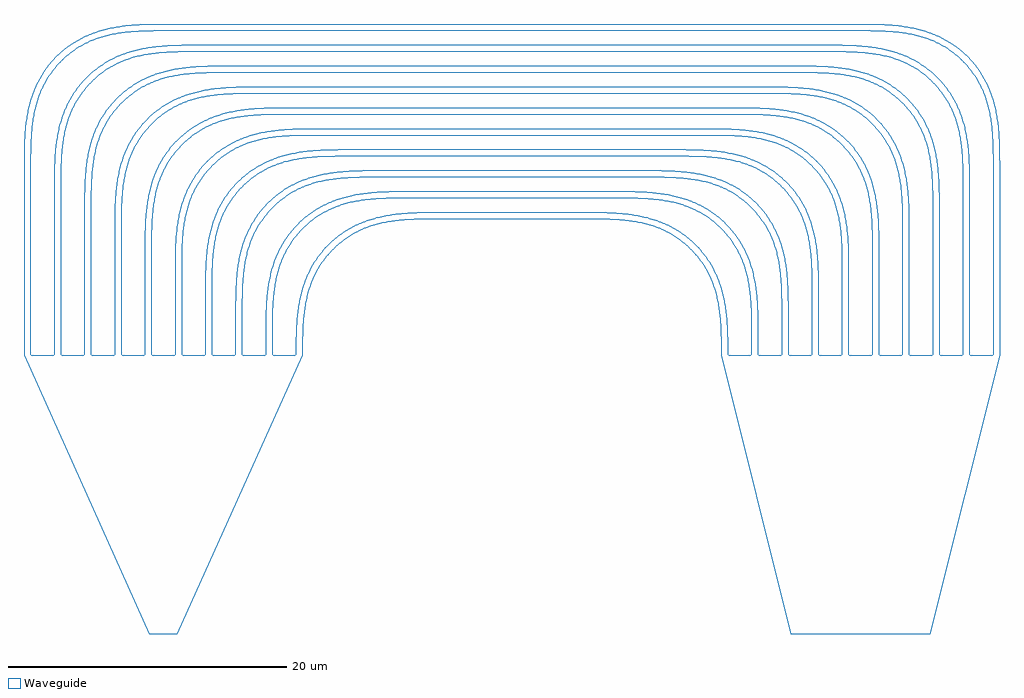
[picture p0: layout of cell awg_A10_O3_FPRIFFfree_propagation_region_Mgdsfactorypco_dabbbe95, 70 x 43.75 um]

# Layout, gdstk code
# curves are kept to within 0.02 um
from math import pi, radians
import gdstk
lib = gdstk.Library(unit=1e-6, precision=1e-09)
def R(c, l, rs):  # rectangles x0, y0, x1, y1
    for r in rs: c.add(gdstk.rectangle(r[:2], r[2:], *l))
def P(c, l, *ps):  # polygons
    for p in ps: c.add(gdstk.Polygon(p, *l))
Waveguide = (1, 0)

free_propagation_region_ = lib.new_cell('free_propagation_region_gdsfactorypcomponentspfilterspa_5ff2a5ce')
P(free_propagation_region_, Waveguide, [(20,-10),(0,-1),(0,1),(20,10)])

c_free_propagation_region_ = lib.new_cell('free_propagation_region_gdsfactorypcomponentspfilterspa_e953b677')
P(c_free_propagation_region_, Waveguide, [(20,-10),(0,-5),(0,5),(20,10)])

bend_euler_r10_a90_p0p5_ = lib.new_cell('bend_euler_R10_A90_P0p5_WAFTrue_NNone_ASNone_LNone_W0p5_40658998')
P(bend_euler_r10_a90_p0p5_, Waveguide, [(0,-0.25),(0,0.25),(1.655,0.269),(2.881,0.353),(3.952,0.52),(4.99,0.806),(5.731,1.113),(6.431,1.505),(7.079,1.976),(7.575,2.425),(8.024,2.921),(8.495,3.569),(8.887,4.269),(9.194,5.01),(9.48,6.048),(9.647,7.119),(9.731,8.345),(9.75,10),(10.25,10),(10.235,8.468),(10.158,7.205),(10.023,6.224),(9.797,5.254),(9.457,4.312),(9.066,3.545),(8.5,2.715),(7.928,2.072),(7.285,1.5),(6.455,0.934),(5.688,0.543),(4.746,0.203),(3.776,-0.023),(2.795,-0.158),(1.532,-0.235)])

straight_l13p5_n2_csstri = lib.new_cell('straight_L13p5_N2_CSstrip_W0p5')
R(straight_l13p5_n2_csstri, Waveguide, [(0,-0.25,13.5,0.25)])

straight_l49p5_n2_csstri = lib.new_cell('straight_L49p5_N2_CSstrip_W0p5')
R(straight_l49p5_n2_csstri, Waveguide, [(0,-0.25,49.5,0.25)])

straight_l12_n2_csstrip_ = lib.new_cell('straight_L12_N2_CSstrip_W0p5')
R(straight_l12_n2_csstrip_, Waveguide, [(0,-0.25,12,0.25)])

straight_l45p16600000000 = lib.new_cell('straight_L45p166000000000004_N2_CSstrip_W0p5')
R(straight_l45p16600000000, Waveguide, [(0,-0.25,45.166,0.25)])

straight_l10p5_n2_csstri = lib.new_cell('straight_L10p5_N2_CSstrip_W0p5')
R(straight_l10p5_n2_csstri, Waveguide, [(0,-0.25,10.5,0.25)])

straight_l40p834_n2_csst = lib.new_cell('straight_L40p834_N2_CSstrip_W0p5')
R(straight_l40p834_n2_csst, Waveguide, [(0,-0.25,40.834,0.25)])

straight_l9_n2_csstrip_w = lib.new_cell('straight_L9_N2_CSstrip_W0p5')
R(straight_l9_n2_csstrip_w, Waveguide, [(0,-0.25,9,0.25)])

straight_l36p5_n2_csstri = lib.new_cell('straight_L36p5_N2_CSstrip_W0p5')
R(straight_l36p5_n2_csstri, Waveguide, [(0,-0.25,36.5,0.25)])

straight_l7p5_n2_csstrip = lib.new_cell('straight_L7p5_N2_CSstrip_W0p5')
R(straight_l7p5_n2_csstrip, Waveguide, [(0,-0.25,7.5,0.25)])

straight_l32p16600000000 = lib.new_cell('straight_L32p166000000000004_N2_CSstrip_W0p5')
R(straight_l32p16600000000, Waveguide, [(0,-0.25,32.166,0.25)])

straight_l6_n2_csstrip_w = lib.new_cell('straight_L6_N2_CSstrip_W0p5')
R(straight_l6_n2_csstrip_w, Waveguide, [(0,-0.25,6,0.25)])

straight_l27p834_n2_csst = lib.new_cell('straight_L27p834_N2_CSstrip_W0p5')
R(straight_l27p834_n2_csst, Waveguide, [(0,-0.25,27.834,0.25)])

straight_l4p5_n2_csstrip = lib.new_cell('straight_L4p5_N2_CSstrip_W0p5')
R(straight_l4p5_n2_csstrip, Waveguide, [(0,-0.25,4.5,0.25)])

straight_l23p5_n2_csstri = lib.new_cell('straight_L23p5_N2_CSstrip_W0p5')
R(straight_l23p5_n2_csstri, Waveguide, [(0,-0.25,23.5,0.25)])

straight_l3_n2_csstrip_w = lib.new_cell('straight_L3_N2_CSstrip_W0p5')
R(straight_l3_n2_csstrip_w, Waveguide, [(0,-0.25,3,0.25)])

straight_l19p166_n2_csst = lib.new_cell('straight_L19p166_N2_CSstrip_W0p5')
R(straight_l19p166_n2_csst, Waveguide, [(0,-0.25,19.166,0.25)])

straight_l1p5_n2_csstrip = lib.new_cell('straight_L1p5_N2_CSstrip_W0p5')
R(straight_l1p5_n2_csstrip, Waveguide, [(0,-0.25,1.5,0.25)])

straight_l14p834_n2_csst = lib.new_cell('straight_L14p834_N2_CSstrip_W0p5')
R(straight_l14p834_n2_csst, Waveguide, [(0,-0.25,14.834,0.25)])

awg_a10_o3_fprifffree_pr = lib.new_cell('awg_A10_O3_FPRIFFfree_propagation_region_Mgdsfactorypco_dabbbe95')
awg_a10_o3_fprifffree_pr.add(gdstk.Reference(free_propagation_region_, (0,0), rotation=pi/2))
awg_a10_o3_fprifffree_pr.add(gdstk.Reference(c_free_propagation_region_, (50,0), rotation=pi/2))
awg_a10_o3_fprifffree_pr.add(gdstk.Reference(bend_euler_r10_a90_p0p5_, (49.75,43.5), x_reflection=True))
awg_a10_o3_fprifffree_pr.add(gdstk.Reference(straight_l13p5_n2_csstri, (59.75,20), rotation=pi/2))
awg_a10_o3_fprifffree_pr.add(gdstk.Reference(bend_euler_r10_a90_p0p5_, (-9.75,33.5), rotation=pi/2, x_reflection=True))
awg_a10_o3_fprifffree_pr.add(gdstk.Reference(straight_l49p5_n2_csstri, (49.75,43.5), rotation=pi))
awg_a10_o3_fprifffree_pr.add(gdstk.Reference(straight_l13p5_n2_csstri, (-9.75,33.5), rotation=3*pi/2))
awg_a10_o3_fprifffree_pr.add(gdstk.Reference(bend_euler_r10_a90_p0p5_, (47.583,42), x_reflection=True))
awg_a10_o3_fprifffree_pr.add(gdstk.Reference(straight_l12_n2_csstrip_, (57.583,20), rotation=pi/2))
awg_a10_o3_fprifffree_pr.add(gdstk.Reference(bend_euler_r10_a90_p0p5_, (-7.583,32), rotation=pi/2, x_reflection=True))
awg_a10_o3_fprifffree_pr.add(gdstk.Reference(straight_l45p16600000000, (47.583,42), rotation=pi))
awg_a10_o3_fprifffree_pr.add(gdstk.Reference(straight_l12_n2_csstrip_, (-7.583,32), rotation=3*pi/2))
awg_a10_o3_fprifffree_pr.add(gdstk.Reference(bend_euler_r10_a90_p0p5_, (45.417,40.5), x_reflection=True))
awg_a10_o3_fprifffree_pr.add(gdstk.Reference(straight_l10p5_n2_csstri, (55.417,20), rotation=pi/2))
awg_a10_o3_fprifffree_pr.add(gdstk.Reference(bend_euler_r10_a90_p0p5_, (-5.417,30.5), rotation=pi/2, x_reflection=True))
awg_a10_o3_fprifffree_pr.add(gdstk.Reference(straight_l40p834_n2_csst, (45.417,40.5), rotation=pi))
awg_a10_o3_fprifffree_pr.add(gdstk.Reference(straight_l10p5_n2_csstri, (-5.417,30.5), rotation=3*pi/2))
awg_a10_o3_fprifffree_pr.add(gdstk.Reference(bend_euler_r10_a90_p0p5_, (43.25,39), x_reflection=True))
awg_a10_o3_fprifffree_pr.add(gdstk.Reference(straight_l9_n2_csstrip_w, (53.25,20), rotation=pi/2))
awg_a10_o3_fprifffree_pr.add(gdstk.Reference(bend_euler_r10_a90_p0p5_, (-3.25,29), rotation=pi/2, x_reflection=True))
awg_a10_o3_fprifffree_pr.add(gdstk.Reference(straight_l36p5_n2_csstri, (43.25,39), rotation=pi))
awg_a10_o3_fprifffree_pr.add(gdstk.Reference(straight_l9_n2_csstrip_w, (-3.25,29), rotation=3*pi/2))
awg_a10_o3_fprifffree_pr.add(gdstk.Reference(bend_euler_r10_a90_p0p5_, (41.083,37.5), x_reflection=True))
awg_a10_o3_fprifffree_pr.add(gdstk.Reference(straight_l7p5_n2_csstrip, (51.083,20), rotation=pi/2))
awg_a10_o3_fprifffree_pr.add(gdstk.Reference(bend_euler_r10_a90_p0p5_, (-1.083,27.5), rotation=pi/2, x_reflection=True))
awg_a10_o3_fprifffree_pr.add(gdstk.Reference(straight_l32p16600000000, (41.083,37.5), rotation=pi))
awg_a10_o3_fprifffree_pr.add(gdstk.Reference(straight_l7p5_n2_csstrip, (-1.083,27.5), rotation=3*pi/2))
awg_a10_o3_fprifffree_pr.add(gdstk.Reference(bend_euler_r10_a90_p0p5_, (38.917,36), x_reflection=True))
awg_a10_o3_fprifffree_pr.add(gdstk.Reference(straight_l6_n2_csstrip_w, (48.917,20), rotation=pi/2))
awg_a10_o3_fprifffree_pr.add(gdstk.Reference(bend_euler_r10_a90_p0p5_, (1.083,26), rotation=pi/2, x_reflection=True))
awg_a10_o3_fprifffree_pr.add(gdstk.Reference(straight_l27p834_n2_csst, (38.917,36), rotation=pi))
awg_a10_o3_fprifffree_pr.add(gdstk.Reference(straight_l6_n2_csstrip_w, (1.083,26), rotation=3*pi/2))
awg_a10_o3_fprifffree_pr.add(gdstk.Reference(bend_euler_r10_a90_p0p5_, (36.75,34.5), x_reflection=True))
awg_a10_o3_fprifffree_pr.add(gdstk.Reference(straight_l4p5_n2_csstrip, (46.75,20), rotation=pi/2))
awg_a10_o3_fprifffree_pr.add(gdstk.Reference(bend_euler_r10_a90_p0p5_, (3.25,24.5), rotation=pi/2, x_reflection=True))
awg_a10_o3_fprifffree_pr.add(gdstk.Reference(straight_l23p5_n2_csstri, (36.75,34.5), rotation=pi))
awg_a10_o3_fprifffree_pr.add(gdstk.Reference(straight_l4p5_n2_csstrip, (3.25,24.5), rotation=3*pi/2))
awg_a10_o3_fprifffree_pr.add(gdstk.Reference(bend_euler_r10_a90_p0p5_, (34.583,33), x_reflection=True))
awg_a10_o3_fprifffree_pr.add(gdstk.Reference(straight_l3_n2_csstrip_w, (44.583,20), rotation=pi/2))
awg_a10_o3_fprifffree_pr.add(gdstk.Reference(bend_euler_r10_a90_p0p5_, (5.417,23), rotation=pi/2, x_reflection=True))
awg_a10_o3_fprifffree_pr.add(gdstk.Reference(straight_l19p166_n2_csst, (34.583,33), rotation=pi))
awg_a10_o3_fprifffree_pr.add(gdstk.Reference(straight_l3_n2_csstrip_w, (5.417,23), rotation=3*pi/2))
awg_a10_o3_fprifffree_pr.add(gdstk.Reference(bend_euler_r10_a90_p0p5_, (32.417,31.5), x_reflection=True))
awg_a10_o3_fprifffree_pr.add(gdstk.Reference(straight_l1p5_n2_csstrip, (42.417,20), rotation=pi/2))
awg_a10_o3_fprifffree_pr.add(gdstk.Reference(bend_euler_r10_a90_p0p5_, (7.583,21.5), rotation=pi/2, x_reflection=True))
awg_a10_o3_fprifffree_pr.add(gdstk.Reference(straight_l14p834_n2_csst, (32.417,31.5), rotation=pi))
awg_a10_o3_fprifffree_pr.add(gdstk.Reference(straight_l1p5_n2_csstrip, (7.583,21.5), rotation=3*pi/2))
awg_a10_o3_fprifffree_pr.add(gdstk.Reference(bend_euler_r10_a90_p0p5_, (30.25,30), x_reflection=True))
awg_a10_o3_fprifffree_pr.add(gdstk.Reference(bend_euler_r10_a90_p0p5_, (9.75,20), rotation=pi/2, x_reflection=True))
awg_a10_o3_fprifffree_pr.add(gdstk.Reference(straight_l10p5_n2_csstri, (30.25,30), rotation=pi))

lib.write_gds('awg_A10_O3_FPRIFFfree_propagation_region_Mgdsfactorypco_dabbbe95.gds')
